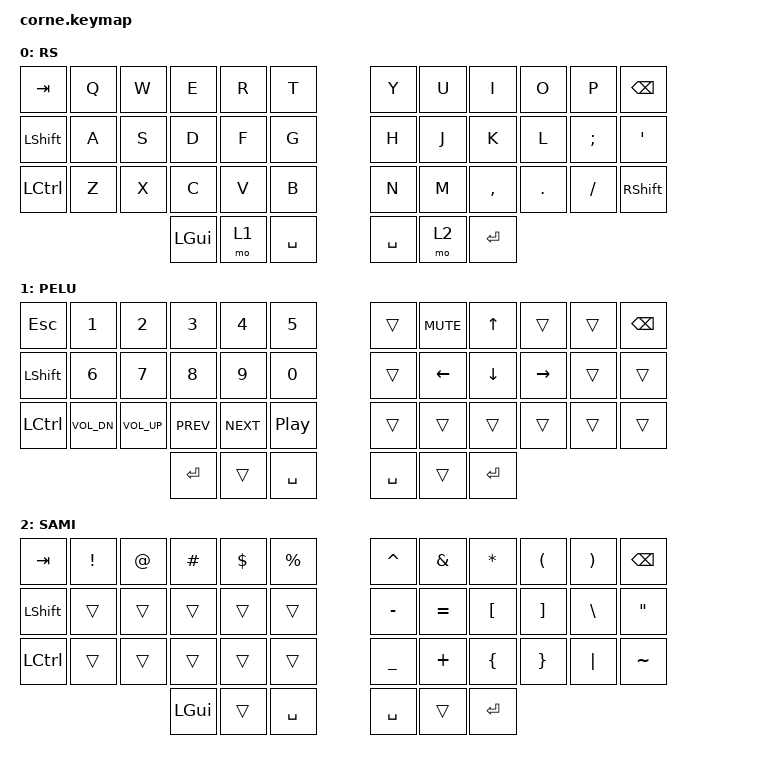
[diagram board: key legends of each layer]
/*
 * Copyright (c) 2020 The ZMK Contributors
 *
 * SPDX-License-Identifier: MIT
 */

#include <behaviors.dtsi>
#include <dt-bindings/zmk/keys.h>
#include <dt-bindings/zmk/bt.h>

/ {
        keymap {
                compatible = "zmk,keymap";

                default_layer {
// -----------------------------------------------------------------------------------------
// |  TAB |  Q  |  W  |  E  |  R  |  T  |   |  Y  |  U   |  I  |  O  |  P  | BKSP |
// | SHFT |  A  |  S  |  D  |  F  |  G  |   |  H  |  J   |  K  |  L  |  ;  |  '   |
// | CTRL |  Z  |  X  |  C  |  V  |  B  |   |  N  |  M   |  ,  |  .  |  /  | RSHFT|
//                    | GUI | LWR | SPC |   | ENT | RSE  | ALT |
                        bindings = <
   &kp TAB   &kp Q &kp W &kp E &kp R &kp T   &kp Y &kp U  &kp I     &kp O   &kp P    &kp BSPC
   &kp LSHFT &kp A &kp S &kp D &kp F &kp G   &kp H &kp J  &kp K     &kp L   &kp SEMI &kp SQT
   &kp LCTRL &kp Z &kp X &kp C &kp V &kp B   &kp N &kp M  &kp COMMA &kp DOT &kp FSLH &kp RSHFT
                  &kp LGUI &mo 1 &kp SPACE   &kp SPACE &mo 2 &kp RET
                        >;
                        label = " RS";
                };
                lower_layer {
// -----------------------------------------------------------------------------------------
// |  ESC |  1  |  2  |  3  |  4  |  5  |   |     |     |  UP |     |     | BKSP |
// | SHFT |  6  |  7  |  8  |  9  |  0  |   |     | LFT | DWN | RGT |     |      |
// | CTRL |     |     |     |     |     |   |     |     |     |     |     |      |
//                    | RET |     | SPC |   | ENT |     | ALT |
                        bindings = <
   &kp ESC    &kp N1       &kp N2       &kp N3       &kp N4       &kp N5         &trans   &kp C_MUTE &kp UP   &trans    &trans &kp BSPC
   &kp LSHFT  &kp N6       &kp N7       &kp N8       &kp N9       &kp N0         &trans   &kp LEFT   &kp DOWN &kp RIGHT &trans &trans
   &kp LCTRL  &kp C_VOL_DN &kp C_VOL_UP &kp C_PREV   &kp C_NEXT   &kp C_PP       &trans   &trans     &trans   &trans    &trans &trans
                                    &kp RET     &trans       &kp SPACE      &kp SPACE  &trans   &kp RET
                        >;
                        label = "PELU";
                };

                raise_layer {
// -----------------------------------------------------------------------------------------
// |  TAB |  !  |  @  |  #  |  $  |  %  |   |  ^  |  &  |  *  |  (  |  )  | BKSP |
// | SHFT |     |     |     |     |     |   |  -  |  =  |  [  |  ]  |  \  |   "  |
// | CTRL |     |     |     |     |     |   |  _  |  +  |  {  |  }  | "|" |  ~   |
//                    | GUI |     | SPC |   | ENT |     | ALT |
                        bindings = <
   &kp  TAB  &kp EXCL &kp AT &kp HASH &kp DLLR &kp PRCNT   &kp CARET &kp AMPS  &kp ASTRK &kp LPAR &kp RPAR &kp BSPC
   &kp LSHFT &trans   &trans &trans   &trans   &trans      &kp MINUS &kp EQUAL &kp LBKT  &kp RBKT &kp BSLH &kp DQT
   &kp LCTRL &trans   &trans &trans   &trans   &trans      &kp UNDER &kp PLUS  &kp LBRC  &kp RBRC &kp PIPE &kp TILDE
                             &kp LGUI &trans   &kp SPACE   &kp SPACE &trans    &kp RET
                        >;
                        label = "SAMI";
                };
        };
};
